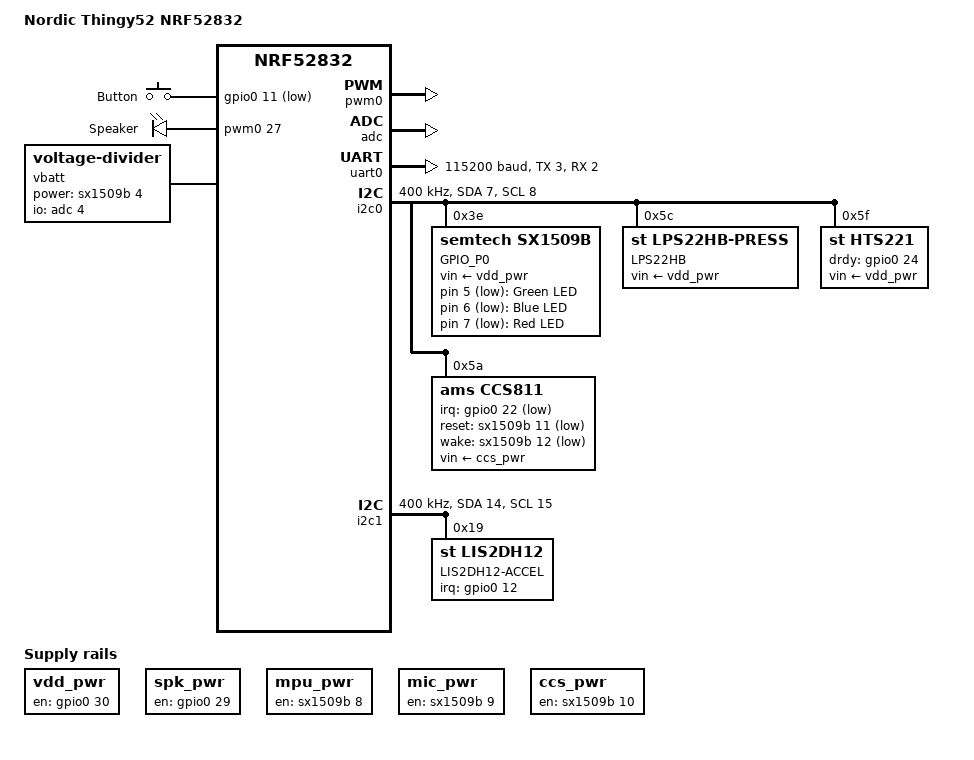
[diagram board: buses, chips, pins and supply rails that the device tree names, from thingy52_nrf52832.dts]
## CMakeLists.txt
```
#
# Copyright (c) 2020 Nordic Semiconductor ASA
#
# SPDX-License-Identifier: LicenseRef-Nordic-5-Clause
#
cmake_minimum_required(VERSION 3.13.1)

find_package(Zephyr REQUIRED HINTS $ENV{ZEPHYR_BASE})
project(NONE)

# NORDIC SDK APP START
target_sources(app PRIVATE
	src/main.c
	src/mesh_light_handler.c
	src/button_func.c
	src/speaker_func.c
	src/model_handler.c
	src/mesh_cmd_handler.c
	src/rssi_thread.c
	include/rssi_thread.h
	src/cmd_thread.c
	include/cmd_thread.h
	include/button_func.h
	include/mesh_cmd_handler.h
	include/mesh_light_handler.h
	include/model_handler.h
	include/speaker_func.h)
target_include_directories(app PRIVATE include)
# NORDIC SDK APP END
```

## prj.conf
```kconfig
## General configuration
CONFIG_SYSTEM_WORKQUEUE_STACK_SIZE=2048
CONFIG_FLASH=y
CONFIG_FLASH_MAP=y
CONFIG_FCB=y
CONFIG_SETTINGS=y
CONFIG_HWINFO=y
CONFIG_DK_LIBRARY=y
CONFIG_BT_MESH_DK_PROV=y

# Bluetooth configuration
CONFIG_BT=y
CONFIG_BT_DEBUG_LOG=y
CONFIG_BT_COMPANY_ID=0x0059
CONFIG_BT_DEVICE_NAME="Mesh Light"
CONFIG_BT_L2CAP_TX_MTU=69
CONFIG_BT_L2CAP_TX_BUF_COUNT=8
CONFIG_BT_OBSERVER=y
CONFIG_BT_PERIPHERAL=y
CONFIG_BT_SETTINGS=y
CONFIG_BT_TINYCRYPT_ECC=y

# Disable unused Bluetooth features
CONFIG_BT_CTLR_DUP_FILTER_LEN=0
CONFIG_BT_CTLR_LE_ENC=n
CONFIG_BT_DATA_LEN_UPDATE=n
CONFIG_BT_PHY_UPDATE=n
CONFIG_BT_CTLR_CHAN_SEL_2=n
CONFIG_BT_CTLR_MIN_USED_CHAN=n
CONFIG_BT_CTLR_PRIVACY=n

# Bluetooth mesh configuration
CONFIG_BT_MESH=y
CONFIG_BT_MESH_RELAY=n
CONFIG_BT_MESH_FRIEND=n
CONFIG_BT_MESH_ADV_BUF_COUNT=13
CONFIG_BT_MESH_TX_SEG_MAX=10
CONFIG_BT_MESH_PB_GATT=y
CONFIG_BT_MESH_GATT_PROXY=y
CONFIG_BT_MESH_DK_PROV_OOB_LOG=n
CONFIG_BT_MESH_DK_PROV_OOB_BUTTON=n
# Bluetooth mesh models
CONFIG_BT_MESH_ONOFF_SRV=y

# Config logger
CONFIG_LOG=y
CONFIG_LOG_PRINTK=y
CONFIG_LOG_DEFAULT_LEVEL=1
CONFIG_USE_SEGGER_RTT=y
CONFIG_LOG_BACKEND_RTT=y
CONFIG_LOG_BACKEND_UART=n
CONFIG_RTT_CONSOLE=y

CONFIG_PWM=y

CONFIG_HEAP_MEM_POOL_SIZE=2048

CONFIG_REBOOT=y
CONFIG_RESET_ON_FATAL_ERROR=y

#CONFIG_BT_DEBUG_LOG=y
```

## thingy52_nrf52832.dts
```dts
/*
 * Copyright (c) 2017 Shawn Nock <shawn@monadnock.ca>
 * Copyright (c) 2017 Linaro Limited
 * Copyright (c) 2018 Aapo Vienamo
 *
 * SPDX-License-Identifier: Apache-2.0
 */

/dts-v1/;
#include <nordic/nrf52832_qfaa.dtsi>

/ {
	model = "Nordic Thingy52 NRF52832";
	compatible = "nordic,thingy52-nrf52832";

	chosen {
		zephyr,console = &uart0;
		zephyr,shell-uart = &uart0;
		zephyr,bt-mon-uart = &uart0;
		zephyr,bt-c2h-uart = &uart0;
		zephyr,sram = &sram0;
		zephyr,flash = &flash0;
		zephyr,code-partition = &slot0_partition;
	};

	/* These aliases are provided for compatibility with samples */
	aliases {
		led0 = &led0;
		led1 = &led1;
		led2 = &led2;
		pwmspeaker = &pwm_dev0;
		sw0 = &button0;
	};

	leds {
		compatible = "gpio-leds";
		/* Lightwell RGB */
		led0: led_0 {
			gpios = <&sx1509b 5 GPIO_ACTIVE_LOW>;
			label = "Green LED";
			//vin-supply = <&vdd_pwr>;
		};
		led1: led_1 {
			gpios = <&sx1509b 6 GPIO_ACTIVE_LOW>;
			label = "Blue LED";
			//vin-supply = <&vdd_pwr>;
		};
		led2: led_2 {
			gpios = <&sx1509b 7 GPIO_ACTIVE_LOW>;
			label = "Red LED";
			//vin-supply = <&vdd_pwr>;
		};
	};

	buttons {
		compatible = "gpio-keys";
		button0: button_0 {
			/* gpio flags need validation */
			gpios = <&gpio0 11 (GPIO_PULL_UP | GPIO_ACTIVE_LOW)>;
			label = "Button";
		};
	};

	pwmdevs {
		compatible = "pwm-leds";
		pwm_dev0: pwm_dev_0  {
			pwms = <&pwm0 27>;
			label = "Speaker";
		};
	};

	vbatt {
		compatible = "voltage-divider";
		io-channels = <&adc 4>;
		output-ohms = <180000>;
		full-ohms = <(1500000 + 180000)>;
		power-gpios = <&sx1509b 4 0>;
	};

	vdd_pwr: vdd-pwr-ctrl {
		compatible = "regulator-fixed-sync", "regulator-fixed";
		label = "vdd-pwr-ctrl";
		regulator-name = "vdd-pwr-ctrl";
		enable-gpios = <&gpio0 30 GPIO_ACTIVE_HIGH>;
		regulator-boot-on;
	};

	spk_pwr: spk-pwr-ctrl {
		compatible = "regulator-fixed-sync", "regulator-fixed";
		label = "spk-pwr-ctrl";
		regulator-name = "spk-pwr-ctrl";
		enable-gpios = <&gpio0 29 GPIO_ACTIVE_HIGH>;
		regulator-boot-on;
	};

	mpu_pwr: mpu-pwr-ctrl {
		compatible = "regulator-fixed";
		label = "mpu-pwr-ctrl";
		regulator-name = "mpu-pwr-ctrl";
		enable-gpios = <&sx1509b 8 GPIO_ACTIVE_HIGH>;
	};

	mic_pwr: mic-pwr-ctrl {
		compatible = "regulator-fixed";
		label = "mic-pwr-ctrl";
		regulator-name = "mic-pwr-ctrl";
		enable-gpios = <&sx1509b 9 GPIO_ACTIVE_HIGH>;
	};

	ccs_pwr: ccs-pwr-ctrl {
		compatible = "regulator-fixed";
		label = "ccs-pwr-ctrl";
		regulator-name = "ccs-pwr-ctrl";
		enable-gpios = <&sx1509b 10 GPIO_ACTIVE_HIGH>;
	};
};

&pwm0 {
	status = "okay";
	ch0-pin = <27>;
	ch0-inverted;
};

&adc {
	status = "okay";
};

&gpiote {
	status = "okay";
};

&gpio0 {
	status = "okay";
};

&uart0 {
	compatible = "nordic,nrf-uarte";
	status = "okay";
	current-speed = <115200>;
	tx-pin = <3>;
	rx-pin = <2>;
};

&i2c0 {
	compatible = "nordic,nrf-twim";
	status = "okay";
	clock-frequency = <I2C_BITRATE_FAST>;
	sda-pin = <7>;
	scl-pin = <8>;

	sx1509b: sx1509b@3e {
		compatible = "semtech,sx1509b";
		reg = <0x3e>;
		label = "GPIO_P0";
		vin-supply = <&vdd_pwr>;
		gpio-controller;
		#gpio-cells = <2>;
		ngpios = <16>;
		/* Active-low LEDs init high, all else init low */
		init-out-high = <0xe0e0>;
		init-out-low = <0x1f1f>;
	};

	lps22hb_press: lps22hb_press@5c {
		compatible = "st,lps22hb-press";
		reg = <0x5c>;
		label = "LPS22HB";
		vin-supply = <&vdd_pwr>;
	};

	hts221: hts221@5f {
		compatible = "st,hts221";
		reg = <0x5f>;
		label = "HTS221";
		vin-supply = <&vdd_pwr>;
		drdy-gpios = <&gpio0 24 GPIO_ACTIVE_HIGH>;
	};

	ccs811: ccs811@5a {
		compatible = "ams,ccs811";
		reg = <0x5a>;
		label = "CCS811";
		vin-supply = <&ccs_pwr>;
		irq-gpios = <&gpio0 22 GPIO_ACTIVE_LOW>;
		reset-gpios = <&sx1509b 11 GPIO_ACTIVE_LOW>;
		wake-gpios = <&sx1509b 12 GPIO_ACTIVE_LOW>;
	};
};

&i2c1 {
	compatible = "nordic,nrf-twim";
	status = "okay";
	clock-frequency = <I2C_BITRATE_FAST>;
	sda-pin = <14>;
	scl-pin = <15>;

	lis2dh12: lis2dh12@19 {
		compatible = "st,lis2dh12", "st,lis2dh";
		reg = <0x19>;
		irq-gpios = <&gpio0 12 GPIO_ACTIVE_HIGH>;
		label = "LIS2DH12-ACCEL";
	};
};

&flash0 {
	partitions {
		compatible = "fixed-partitions";
		#address-cells = <1>;
		#size-cells = <1>;

		boot_partition: partition@0 {
			label = "mcuboot";
			reg = <0x00000000 0xc000>;
		};
		slot0_partition: partition@c000 {
			label = "image-0";
			reg = <0x0000C000 0x32000>;
		};
		slot1_partition: partition@3e000 {
			label = "image-1";
			reg = <0x0003E000 0x32000>;
		};
		scratch_partition: partition@70000 {
			label = "image-scratch";
			reg = <0x00070000 0xa000>;
		};

		/*
		 * The flash starting at 0x0007a000 and ending at
		 * 0x0007ffff (sectors 122-127) is reserved for use
		 * by the application.
		 * Storage partition will be used by FCB/LittleFS/NVS
		 * if enabled.
		 */
		storage_partition: partition@7a000 {
			label = "storage";
			reg = <0x0007a000 0x00006000>;
		};
	};
};
```

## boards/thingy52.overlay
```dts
/{
	model = "Nordic Thingy52 NRF52832";
	compatible = "nordic,thingy52-nrf52832";

	chosen {
		zephyr,console = &uart0;
		zephyr,shell-uart = &uart0;
		zephyr,bt-mon-uart = &uart0;
		zephyr,bt-c2h-uart = &uart0;
		zephyr,sram = &sram0;
		zephyr,flash = &flash0;
		zephyr,code-partition = &slot0_partition;
	};

	/* These aliases are provided for compatibility with samples */
	aliases {
		led0 = &led0;
		led1 = &led1;
		led2 = &led2;
		pwmspeaker = &pwm_dev0;
		sw0 = &button0;
	};

	leds {
		compatible = "gpio-leds";
		/* Lightwell RGB */
		led0: led_0 {
			gpios = <&sx1509b 7 GPIO_ACTIVE_LOW>;
			label = "Red LED";
			//vin-supply = <&vdd_pwr>;
		};
		led1: led_1 {
			gpios = <&sx1509b 5 GPIO_ACTIVE_LOW>;
			label = "Green LED";
			//vin-supply = <&vdd_pwr>;
		};
		led2: led_2 {
			gpios = <&sx1509b 6 GPIO_ACTIVE_LOW>;
			label = "Blue LED";
			//vin-supply = <&vdd_pwr>;
		};
	};

	buttons {
		compatible = "gpio-keys";
		button0: button_0 {
			/* gpio flags need validation */
			gpios = <&gpio0 11 (GPIO_PULL_UP | GPIO_ACTIVE_LOW)>;
			label = "Button";
		};
	};

	pwmdevs {
		compatible = "pwm-leds";
		pwm_dev0: pwm_dev_0  {
			pwms = <&pwm0 27>;
			label = "Speaker";
		};
	};

	vbatt {
		compatible = "voltage-divider";
		io-channels = <&adc 4>;
		output-ohms = <180000>;
		full-ohms = <(1500000 + 180000)>;
		power-gpios = <&sx1509b 4 0>;
	};

	vdd_pwr: vdd-pwr-ctrl {
		compatible = "regulator-fixed-sync", "regulator-fixed";
		label = "vdd-pwr-ctrl";
		regulator-name = "vdd-pwr-ctrl";
		enable-gpios = <&gpio0 30 GPIO_ACTIVE_HIGH>;
		regulator-boot-on;
	};

	spk_pwr: spk-pwr-ctrl {
		compatible = "regulator-fixed-sync", "regulator-fixed";
		label = "spk-pwr-ctrl";
		regulator-name = "spk-pwr-ctrl";
		enable-gpios = <&gpio0 29 GPIO_ACTIVE_HIGH>;
		regulator-boot-on;
	};

	mpu_pwr: mpu-pwr-ctrl {
		compatible = "regulator-fixed";
		label = "mpu-pwr-ctrl";
		regulator-name = "mpu-pwr-ctrl";
		enable-gpios = <&sx1509b 8 GPIO_ACTIVE_HIGH>;
	};

	mic_pwr: mic-pwr-ctrl {
		compatible = "regulator-fixed";
		label = "mic-pwr-ctrl";
		regulator-name = "mic-pwr-ctrl";
		enable-gpios = <&sx1509b 9 GPIO_ACTIVE_HIGH>;
	};

	ccs_pwr: ccs-pwr-ctrl {
		compatible = "regulator-fixed";
		label = "ccs-pwr-ctrl";
		regulator-name = "ccs-pwr-ctrl";
		enable-gpios = <&sx1509b 10 GPIO_ACTIVE_HIGH>;
	};
};

&pwm0 {
	status = "okay";
	ch0-pin = <27>;
	ch0-inverted;
};

&adc {
	status = "okay";
};

&gpiote {
	status = "okay";
};

&gpio0 {
	status = "okay";
};

&uart0 {
	compatible = "nordic,nrf-uarte";
	status = "okay";
	current-speed = <115200>;
	tx-pin = <3>;
	rx-pin = <2>;
};

&i2c0 {
	compatible = "nordic,nrf-twim";
	status = "okay";
	clock-frequency = <I2C_BITRATE_FAST>;
	sda-pin = <7>;
	scl-pin = <8>;

	sx1509b: sx1509b@3e {
		compatible = "semtech,sx1509b";
		reg = <0x3e>;
		label = "GPIO_P0";
		vin-supply = <&vdd_pwr>;
		gpio-controller;
		#gpio-cells = <2>;
		ngpios = <16>;
		/* Active-low LEDs init high, all else init low */
		init-out-high = <0xe0e0>;
		init-out-low = <0x1f1f>;
	};

	lps22hb_press: lps22hb_press@5c {
		compatible = "st,lps22hb-press";
		reg = <0x5c>;
		label = "LPS22HB";
		vin-supply = <&vdd_pwr>;
	};

	hts221: hts221@5f {
		compatible = "st,hts221";
		reg = <0x5f>;
		label = "HTS221";
		vin-supply = <&vdd_pwr>;
		drdy-gpios = <&gpio0 24 GPIO_ACTIVE_HIGH>;
	};

	ccs811: ccs811@5a {
		compatible = "ams,ccs811";
		reg = <0x5a>;
		label = "CCS811";
		vin-supply = <&ccs_pwr>;
		irq-gpios = <&gpio0 22 GPIO_ACTIVE_LOW>;
		reset-gpios = <&sx1509b 11 GPIO_ACTIVE_LOW>;
		wake-gpios = <&sx1509b 12 GPIO_ACTIVE_LOW>;
	};
};

&i2c1 {
	compatible = "nordic,nrf-twim";
	status = "okay";
	clock-frequency = <I2C_BITRATE_FAST>;
	sda-pin = <14>;
	scl-pin = <15>;

	lis2dh12: lis2dh12@19 {
		compatible = "st,lis2dh12", "st,lis2dh";
		reg = <0x19>;
		irq-gpios = <&gpio0 12 GPIO_ACTIVE_HIGH>;
		label = "LIS2DH12-ACCEL";
	};
};

&flash0 {
	partitions {
		compatible = "fixed-partitions";
		#address-cells = <1>;
		#size-cells = <1>;

		boot_partition: partition@0 {
			label = "mcuboot";
			reg = <0x00000000 0xc000>;
		};
		slot0_partition: partition@c000 {
			label = "image-0";
			reg = <0x0000C000 0x32000>;
		};
		slot1_partition: partition@3e000 {
			label = "image-1";
			reg = <0x0003E000 0x32000>;
		};
		scratch_partition: partition@70000 {
			label = "image-scratch";
			reg = <0x00070000 0xa000>;
		};

		/*
		 * The flash starting at 0x0007a000 and ending at
		 * 0x0007ffff (sectors 122-127) is reserved for use
		 * by the application.
		 * Storage partition will be used by FCB/LittleFS/NVS
		 * if enabled.
		 */
		storage_partition: partition@7a000 {
			label = "storage";
			reg = <0x0007a000 0x00006000>;
		};
	};
};
```

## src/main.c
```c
#include <bluetooth/bluetooth.h>
#include <bluetooth/mesh/models.h>
#include <bluetooth/mesh/dk_prov.h>
#include <dk_buttons_and_leds.h>

#include "model_handler.h"
#include "button_func.h"
#include "speaker_func.h"

static void bt_ready(int err)
{
	if (err) {
		printk("Bluetooth init failed (err %d)\n", err);
		return;
	}

	printk("Bluetooth initialized\n");

	err = bt_mesh_init(bt_mesh_dk_prov_init(), model_handler_init());
	if (err) {
		printk("Initializing mesh failed (err %d)\n", err);
		return;
	}

	if (IS_ENABLED(CONFIG_SETTINGS)) {
		settings_load();
	}

	/* This will be a no-op if settings_load() loaded provisioning info */
	bt_mesh_prov_enable(BT_MESH_PROV_ADV | BT_MESH_PROV_GATT);

	printk("Mesh initialized\n");
}

void main(void)
{
	int err;
	
	button_init();
	speaker_init();
	dk_leds_init();

	printk("Initializing...\n");

	err = bt_enable(bt_ready);
	if (err) {
		printk("Bluetooth init failed (err %d)\n", err);
	}
}
```

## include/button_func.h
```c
#ifndef __BUTTON_FUNC_H__	
#define __BUTTON_FUNC_H__		
#include <zephyr.h>
#include <device.h>
#include <drivers/gpio.h>
#include <sys/util.h>
#include <sys/printk.h>
#include <inttypes.h>

#define SW0_NODE	DT_ALIAS(sw0)
#define SW0_GPIO_LABEL	DT_GPIO_LABEL(SW0_NODE, gpios)
#define SW0_GPIO_PIN	DT_GPIO_PIN(SW0_NODE, gpios)
#define SW0_GPIO_FLAGS	(GPIO_INPUT | DT_GPIO_FLAGS(SW0_NODE, gpios))
void button_init(void);
#endif // !__BUTTON_FUNC_H__	
```

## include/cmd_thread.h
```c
#ifndef __CMD_THREAD__
#define __CMD_THREAD__
#include <zephyr.h>

#define CMD_STACK_SIZE 1024
#define CMD_PRIORITY 5
extern struct k_work_q cmd_work_q;
void init_cmd_thread();
#endif
```

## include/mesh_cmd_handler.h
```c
#ifndef __MESH_CMD_HANDLER_H__
#define __MESH_CMD_HANDLER_H__
#include <bluetooth/mesh.h>
#include <bluetooth/mesh/model_types.h>
#include "mesh/net.h"
#include "mesh/transport.h"
#include <string.h>
#include "model_handler.h"
extern struct bt_mesh_chat_cli chat;

#define CONFIG_BT_MESH_CHAT_CLI_MESSAGE_LENGTH 15
#define CONFIG_BT_MESH_CHAT_SAMPLE_PRESENCE_CACHE_SIZE 10

/** Company ID of the Bluetooth Mesh Chat Client model. */
#define BT_MESH_CHAT_CLI_VENDOR_COMPANY_ID    0x0059

/** Model ID of the Bluetooth Mesh Chat Client model. */
#define BT_MESH_CHAT_CLI_VENDOR_MODEL_ID      0x000A

/** Non-private message opcode. */
#define BT_MESH_CHAT_CLI_OP_MESSAGE BT_MESH_MODEL_OP_3(0x0A, \
				       BT_MESH_CHAT_CLI_VENDOR_COMPANY_ID)

/** Private message opcode. */
#define BT_MESH_CHAT_CLI_OP_PRIVATE_MESSAGE BT_MESH_MODEL_OP_3(0x0B, \
				       BT_MESH_CHAT_CLI_VENDOR_COMPANY_ID)

/** Message reply opcode. */
#define BT_MESH_CHAT_CLI_OP_MESSAGE_REPLY BT_MESH_MODEL_OP_3(0x0C, \
				       BT_MESH_CHAT_CLI_VENDOR_COMPANY_ID)

/** Presence message opcode. */
#define BT_MESH_CHAT_CLI_OP_PRESENCE BT_MESH_MODEL_OP_3(0x0D, \
				       BT_MESH_CHAT_CLI_VENDOR_COMPANY_ID)

/** Presence get message opcode. */
#define BT_MESH_CHAT_CLI_OP_PRESENCE_GET BT_MESH_MODEL_OP_3(0x0E, \
				       BT_MESH_CHAT_CLI_VENDOR_COMPANY_ID)
/* .. include_endpoint_chat_cli_rst_1 */

#define BT_MESH_CHAT_CLI_MSG_MINLEN_MESSAGE 1
#define BT_MESH_CHAT_CLI_MSG_MAXLEN_MESSAGE (\
				     CONFIG_BT_MESH_CHAT_CLI_MESSAGE_LENGTH \
				     + 1) /* + \0 */
#define BT_MESH_CHAT_CLI_MSG_LEN_MESSAGE_REPLY 0
#define BT_MESH_CHAT_CLI_MSG_LEN_PRESENCE 1
#define BT_MESH_CHAT_CLI_MSG_LEN_PRESENCE_GET 0
/** Bluetooth Mesh Chat Client Presence values. */
enum bt_mesh_chat_cli_presence {
	BT_MESH_CHAT_CLI_PRESENCE_AVAILABLE,
	BT_MESH_CHAT_CLI_PRESENCE_AWAY,
	BT_MESH_CHAT_CLI_PRESENCE_INACTIVE,
	BT_MESH_CHAT_CLI_PRESENCE_DO_NOT_DISTURB
};

/* Forward declaration of the Bluetooth Mesh Chat Client model context. */
struct bt_mesh_chat_cli;

/* .. include_startingpoint_chat_cli_rst_2 */
/** @def BT_MESH_MODEL_CHAT_CLI
 *
 * @brief Bluetooth Mesh Chat Client model composition data entry.
 *
 * @param[in] _chat Pointer to a @ref bt_mesh_chat_cli instance.
 */
#define BT_MESH_MODEL_CHAT_CLI(_chat)                                          \
		BT_MESH_MODEL_VND_CB(BT_MESH_CHAT_CLI_VENDOR_COMPANY_ID,       \
			BT_MESH_CHAT_CLI_VENDOR_MODEL_ID,                      \
			_bt_mesh_chat_cli_op, &(_chat)->pub,                   \
			BT_MESH_MODEL_USER_DATA(struct bt_mesh_chat_cli,       \
						_chat),                        \
			&_bt_mesh_chat_cli_cb)
/* .. include_endpoint_chat_cli_rst_2 */

/** Bluetooth Mesh Chat Client model handlers. */
struct bt_mesh_chat_cli_handlers {
	/** @brief Called after the node has been provisioned, or after all
	 * mesh data has been loaded from persistent storage.
	 *
	 * @param[in] cli Chat Client instance that has been started.
	 */
	void (*const start)(struct bt_mesh_chat_cli *chat);

	/** @brief Handler for a presence message.
	 *
	 * @param[in] cli Chat client instance that received the text message.
	 * @param[in] ctx Context of the incoming message.
	 * @param[in] presence Presence of a Chat Client that published
	 * the message.
	 */
	void (*const presence)(struct bt_mesh_chat_cli *chat,
			       struct bt_mesh_msg_ctx *ctx,
			       enum bt_mesh_chat_cli_presence presence);

	/** @brief Handler for a non-private text message.
	 *
	 * @param[in] cli Chat client instance that received the text message.
	 * @param[in] ctx Context of the incoming message.
	 * @param[in] msg Pointer to a received text message terminated with
	 * a null character, '\0'.
	 */
	void (*const message)(struct bt_mesh_chat_cli *chat,
			      struct bt_mesh_msg_ctx *ctx,
			      const uint8_t *msg);

	/** @brief Handler for a private message.
	 *
	 * @param[in] cli Chat client that received the text message.
	 * @param[in] ctx Context of the incoming message.
	 * @param[in] msg Pointer to a received text message terminated with
	 * a null character, '\0'.
	 */
	void (*const private_message)(struct bt_mesh_chat_cli *chat,
				      struct bt_mesh_msg_ctx *ctx,
				      const uint8_t *msg);

	/** @brief Handler for a reply on a private message.
	 *
	 * @param[in] cli Chat client instance that received the reply.
	 * @param[in] ctx Context of the incoming message.
	 */
	void (*const message_reply)(struct bt_mesh_chat_cli *chat,
				    struct bt_mesh_msg_ctx *ctx);
};

/* .. include_startingpoint_chat_cli_rst_3 */
/**
 * Bluetooth Mesh Chat Client model context.
 */
struct bt_mesh_chat_cli {
	/** Access model pointer. */
	struct bt_mesh_model *model;
	/** Publish parameters. */
	struct bt_mesh_model_pub pub;
	/** Publication message. */
	struct net_buf_simple pub_msg;
	/** Publication message buffer. */
	uint8_t buf[BT_MESH_MODEL_BUF_LEN(BT_MESH_CHAT_CLI_OP_MESSAGE,
					  BT_MESH_CHAT_CLI_MSG_MAXLEN_MESSAGE)];
	/** Handler function structure. */
	const struct bt_mesh_chat_cli_handlers *handlers;
	/** Current Presence value. */
	enum bt_mesh_chat_cli_presence presence;
};
/* .. include_endpoint_chat_cli_rst_3 */

/** @brief Set the client presence and publish the presence to the mesh network.
 *
 * @param[in] chat     Chat Client model instance to set presence on.
 * @param[in] presence Presence status to be published.
 *
 * @retval 0 Successfully set the preceive and sent the message.
 * @retval -EADDRNOTAVAIL Publishing is not configured.
 * @retval -EAGAIN The device has not been provisioned.
 */
int bt_mesh_chat_cli_presence_set(struct bt_mesh_chat_cli *chat,
				  enum bt_mesh_chat_cli_presence presence);

/** @brief Get current presence value of a chat client.
 *
 * @param[in] chat Chat Client model instance to send the message.
 * @param[in] addr Address of the chat client to get presence value of.
 *
 * @retval 0 Successfully sent the message.
 * @retval -EINVAL The model is not bound to an application key.
 * @retval -EAGAIN The device has not been provisioned.
 */
int bt_mesh_chat_cli_presence_get(struct bt_mesh_chat_cli *chat,
				  uint16_t addr);

/** @brief Send a text message.
 *
 * @param[in] cli Chat Client model instance to send the message.
 * @param[in] msg Pointer to a text message to send. Must be terminated with
 * a null character, '\0'.
 *
 * @retval 0 Successfully sent the message.
 * @retval -EADDRNOTAVAIL Publishing is not configured.
 * @retval -EAGAIN The device has not been provisioned.
 */
int bt_mesh_chat_cli_message_send(struct bt_mesh_chat_cli *chat,
				  const uint8_t *msg);

/** @brief Send a text message to a specified destination.
 *
 * @param[in] cli  Chat Client model instance to send the message.
 * @param[in] addr Address of the chat client to send message to.
 * @param[in] msg  Pointer to a text message to send. Must be terminated with
 * a null character, '\0'.
 *
 * @retval 0 Successfully sent the message.
 * @retval -EINVAL The model is not bound to an application key.
 * @retval -EAGAIN The device has not been provisioned.
 */
int bt_mesh_chat_cli_private_message_send(struct bt_mesh_chat_cli *chat,
					  uint16_t addr,
					  const uint8_t *msg);

/** @cond INTERNAL_HIDDEN */
extern const struct bt_mesh_model_op _bt_mesh_chat_cli_op[];
extern const struct bt_mesh_model_cb _bt_mesh_chat_cli_cb;
#endif
```

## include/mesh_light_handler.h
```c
#ifndef __MESH_LIGHT_HANDLER_H__
#define __MESH_LIGHT_HANDLER_H__
#include <bluetooth/bluetooth.h>
#include <bluetooth/mesh/models.h>
#include <dk_buttons_and_leds.h>
#include "model_handler.h"
struct led_ctx {
	struct bt_mesh_onoff_srv srv;
	struct k_work_delayable work;
	uint32_t remaining;
	bool value;
};

extern const struct bt_mesh_onoff_srv_handlers onoff_handlers;

extern struct led_ctx led_ctx[3];
void led_transition_start(struct led_ctx *led);
void led_status(struct led_ctx *led, struct bt_mesh_onoff_status *status);
#endif
```

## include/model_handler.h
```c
/*
 * Copyright (c) 2019 Nordic Semiconductor ASA
 *
 * SPDX-License-Identifier: LicenseRef-Nordic-5-Clause
 */

/**
 * @file
 * @brief Model handler
 */

#ifndef MODEL_HANDLER_H__
#define MODEL_HANDLER_H__

#include <bluetooth/mesh.h>

#ifdef __cplusplus
extern "C" {
#endif

const struct bt_mesh_comp *model_handler_init(void);
#ifdef __cplusplus
}
#endif

#endif /* MODEL_HANDLER_H__ */
```

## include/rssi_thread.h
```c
#ifndef __RSSI_THREAD__
#define __RSSI_THREAD__
#include <zephyr.h>

#define RSSI_STACK_SIZE 1024
#define RSSI_PRIORITY 8

typedef struct RSSI_INFO
{
	struct k_work work;
	uint16_t address;
	int8_t rssi;
}RSSI;

typedef struct rssi_buffer
{
	uint16_t address;
	int8_t rssi;

}rssi_buffer;

extern rssi_buffer nearest_three[3];
extern struct k_work_q rssi_work_q;
void init_rssi_thread();
void process_rssi(struct k_work *item);
void init_buffer();
int getRecords();
#endif
```

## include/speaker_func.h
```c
#ifndef __SPEAKER_FUNC_H__
#define __SPEAKER_FUNC_H__

#include <device.h>
#include <errno.h>
#include <sys/util.h>
#include <zephyr.h>
#include <devicetree.h>
#include <drivers/pwm.h>
#include "nrfx_gpiote.h"

#define PWM_SPKR_NODE	DT_ALIAS(pwmspeaker)
#define PWM_CTLR	DT_PWMS_CTLR(PWM_SPKR_NODE)
#define PWM_CHANNEL DT_PWMS_CHANNEL(PWM_SPKR_NODE)

#define SPKR_PWR_SWITCH 29

void speaker_init(void);
void speaker_always_on(int freq, int volume);
void speaker_limit_on(int freq, int volume, int duration);
void speaker_off(void);
void speaker_always_on_alarm(int freq, int volume, int on_time, int idle_time);
void speaker_limit_on_alarm(int freq, int volume, int on_time, int idle_time, int duration);
#endif // !__SPEAKER_FUNC_H__
 
```

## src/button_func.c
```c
#include "button_func.h"
#include "power/reboot.h"

static const struct device *button;
static struct gpio_callback button_cb_data;

void button_pressed(const struct device *dev,
	struct gpio_callback *cb,
	uint32_t pins)
{
	printk("Button pressed at %" PRIu32 "\n", k_cycle_get_32());
	sys_reboot(SYS_REBOOT_COLD);
}

void button_init(void)
{
	int ret;

	button = device_get_binding(SW0_GPIO_LABEL);
	if (button == NULL) {
		printk("Error: didn't find %s device\n", SW0_GPIO_LABEL);
		return;
	}

	ret = gpio_pin_configure(button, SW0_GPIO_PIN, SW0_GPIO_FLAGS);
	if (ret != 0) {
		printk("Error %d: failed to configure %s pin %d\n",
			ret,
			SW0_GPIO_LABEL,
			SW0_GPIO_PIN);
		return;
	}

	ret = gpio_pin_interrupt_configure(button,
		SW0_GPIO_PIN,
		GPIO_INT_EDGE_TO_ACTIVE);
	if (ret != 0) {
		printk("Error %d: failed to configure interrupt on %s pin %d\n",
			ret,
			SW0_GPIO_LABEL,
			SW0_GPIO_PIN);
		return;
	}

	gpio_init_callback(&button_cb_data, button_pressed, BIT(SW0_GPIO_PIN));
	gpio_add_callback(button, &button_cb_data);

}
```

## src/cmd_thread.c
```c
#include "cmd_thread.h"

K_THREAD_STACK_DEFINE(cmd_stack_area, CMD_STACK_SIZE);
struct k_work_q cmd_work_q;

void init_cmd_thread()
{
	k_work_queue_start(&cmd_work_q, cmd_stack_area, K_THREAD_STACK_SIZEOF(cmd_stack_area), CMD_PRIORITY, NULL);
}
```

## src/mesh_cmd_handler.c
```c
#include "mesh_cmd_handler.h"
#include <logging/log.h>
#include "rssi_thread.h"
#include "cmd_thread.h"

LOG_MODULE_DECLARE(command);

BUILD_ASSERT(BT_MESH_MODEL_BUF_LEN(BT_MESH_CHAT_CLI_OP_MESSAGE,
		BT_MESH_CHAT_CLI_MSG_MAXLEN_MESSAGE) <=
 BT_MESH_RX_SDU_MAX,
	"The message must fit inside an application SDU.");
BUILD_ASSERT(BT_MESH_MODEL_BUF_LEN(BT_MESH_CHAT_CLI_OP_MESSAGE,
		BT_MESH_CHAT_CLI_MSG_MAXLEN_MESSAGE) <=
 BT_MESH_TX_SDU_MAX,
	"The message must fit inside an application SDU.");

static void encode_presence(struct net_buf_simple *buf,
	enum bt_mesh_chat_cli_presence presence)
{
	bt_mesh_model_msg_init(buf, BT_MESH_CHAT_CLI_OP_PRESENCE);
	net_buf_simple_add_u8(buf, presence);
}

static const uint8_t *extract_msg(struct net_buf_simple *buf)
{
	buf->data[buf->len - 1] = '\0';
	return net_buf_simple_pull_mem(buf, buf->len);
}

static int handle_message(struct bt_mesh_model *model,
	struct bt_mesh_msg_ctx *ctx,
	struct net_buf_simple *buf)
{
	struct bt_mesh_chat_cli *chat = model->user_data;
	const uint8_t *msg;

	msg = extract_msg(buf);

	if (chat->handlers->message) {
		chat->handlers->message(chat, ctx, msg);
	}

	return 0;
}

/* .. include_startingpoint_chat_cli_rst_1 */
//static void send_message_reply(struct bt_mesh_chat_cli *chat,
//	struct bt_mesh_msg_ctx *ctx)
//{
//	BT_MESH_MODEL_BUF_DEFINE(msg,
//		BT_MESH_CHAT_CLI_OP_MESSAGE_REPLY,
//		BT_MESH_CHAT_CLI_MSG_LEN_MESSAGE_REPLY);
//	bt_mesh_model_msg_init(&msg, BT_MESH_CHAT_CLI_OP_MESSAGE_REPLY);
//
//	(void)bt_mesh_model_send(chat->model, ctx, &msg, NULL, NULL);
//}

static int handle_private_message(struct bt_mesh_model *model,
	struct bt_mesh_msg_ctx *ctx,
	struct net_buf_simple *buf)
{
	struct bt_mesh_chat_cli *chat = model->user_data;
	const uint8_t *msg;

	msg = extract_msg(buf);

	if (chat->handlers->private_message) {
		chat->handlers->private_message(chat, ctx, msg);
	}

	//send_message_reply(chat, ctx);
	return 0;
}
/* .. include_endpoint_chat_cli_rst_1 */

static int handle_message_reply(struct bt_mesh_model *model,
	struct bt_mesh_msg_ctx *ctx,
	struct net_buf_simple *buf)
{
	struct bt_mesh_chat_cli *chat = model->user_data;

	if (chat->handlers->message_reply) {
		chat->handlers->message_reply(chat, ctx);
	}

	return 0;
}

static int handle_presence(struct bt_mesh_model *model,
	struct bt_mesh_msg_ctx *ctx,
	struct net_buf_simple *buf)
{
	struct bt_mesh_chat_cli *chat = model->user_data;
	enum bt_mesh_chat_cli_presence presence;

	presence = net_buf_simple_pull_u8(buf);

	if (chat->handlers->presence) {
		chat->handlers->presence(chat, ctx, presence);
	}

	return 0;
}

static int handle_presence_get(struct bt_mesh_model *model,
	struct bt_mesh_msg_ctx *ctx,
	struct net_buf_simple *buf)
{
	struct bt_mesh_chat_cli *chat = model->user_data;

	BT_MESH_MODEL_BUF_DEFINE(msg,
		BT_MESH_CHAT_CLI_OP_PRESENCE,
		BT_MESH_CHAT_CLI_MSG_LEN_PRESENCE);

	encode_presence(&msg, chat->presence);

	(void) bt_mesh_model_send(chat->model, ctx, &msg, NULL, NULL);

	return 0;
}

/* .. include_startingpoint_chat_cli_rst_2 */
const struct bt_mesh_model_op _bt_mesh_chat_cli_op[] = {
{
	BT_MESH_CHAT_CLI_OP_MESSAGE,
	BT_MESH_LEN_MIN(BT_MESH_CHAT_CLI_MSG_MINLEN_MESSAGE),
	handle_message
},
{
	BT_MESH_CHAT_CLI_OP_PRIVATE_MESSAGE,
	BT_MESH_LEN_MIN(BT_MESH_CHAT_CLI_MSG_MINLEN_MESSAGE),
	handle_private_message
},
{
	BT_MESH_CHAT_CLI_OP_MESSAGE_REPLY,
	BT_MESH_LEN_EXACT(BT_MESH_CHAT_CLI_MSG_LEN_MESSAGE_REPLY),
	handle_message_reply
},
{
	BT_MESH_CHAT_CLI_OP_PRESENCE,
	BT_MESH_LEN_EXACT(BT_MESH_CHAT_CLI_MSG_LEN_PRESENCE),
	handle_presence
},
{
	BT_MESH_CHAT_CLI_OP_PRESENCE_GET,
	BT_MESH_LEN_EXACT(BT_MESH_CHAT_CLI_MSG_LEN_PRESENCE_GET),
	handle_presence_get
},
	BT_MESH_MODEL_OP_END,
};
/* .. include_endpoint_chat_cli_rst_2 */

static int bt_mesh_chat_cli_update_handler(struct bt_mesh_model *model)
{
	struct bt_mesh_chat_cli *chat = model->user_data;

	/* Continue publishing current presence. */
	encode_presence(model->pub->msg, chat->presence);

	return 0;
}

/* .. include_startingpoint_chat_cli_rst_3 */
#ifdef CONFIG_BT_SETTINGS
static int bt_mesh_chat_cli_settings_set(struct bt_mesh_model *model,
	const char *name,
	size_t len_rd,
	settings_read_cb read_cb,
	void *cb_arg)
{
	struct bt_mesh_chat_cli *chat = model->user_data;

	if (name) {
		return -ENOENT;
	}

	ssize_t bytes = read_cb(cb_arg,
		&chat->presence,
		sizeof(chat->presence));
	if (bytes < 0) {
		return bytes;
	}

	if (bytes != 0 && bytes != sizeof(chat->presence)) {
		return -EINVAL;
	}

	return 0;
}
#endif
/* .. include_endpoint_chat_cli_rst_3 */

/* .. include_startingpoint_chat_cli_rst_4 */
static int bt_mesh_chat_cli_init(struct bt_mesh_model *model)
{
	struct bt_mesh_chat_cli *chat = model->user_data;

	chat->model = model;

	net_buf_simple_init_with_data(&chat->pub_msg,
		chat->buf,
		sizeof(chat->buf));
	chat->pub.msg = &chat->pub_msg;
	chat->pub.update = bt_mesh_chat_cli_update_handler;

	return 0;
}
/* .. include_endpoint_chat_cli_rst_4 */

/* .. include_startingpoint_chat_cli_rst_5 */
static int bt_mesh_chat_cli_start(struct bt_mesh_model *model)
{
	struct bt_mesh_chat_cli *chat = model->user_data;

	if (chat->handlers->start) {
		chat->handlers->start(chat);
	}

	return 0;
}
/* .. include_endpoint_chat_cli_rst_5 */

/* .. include_startingpoint_chat_cli_rst_6 */
static void bt_mesh_chat_cli_reset(struct bt_mesh_model *model)
{
	struct bt_mesh_chat_cli *chat = model->user_data;

	chat->presence = BT_MESH_CHAT_CLI_PRESENCE_AVAILABLE;

	if (IS_ENABLED(CONFIG_BT_SETTINGS)) {
		(void) bt_mesh_model_data_store(model, true, NULL, NULL, 0);
	}
}
/* .. include_endpoint_chat_cli_rst_6 */

/* .. include_startingpoint_chat_cli_rst_7 */
const struct bt_mesh_model_cb _bt_mesh_chat_cli_cb = {
	.init = bt_mesh_chat_cli_init,
	.start = bt_mesh_chat_cli_start,
#ifdef CONFIG_BT_SETTINGS
	.settings_set = bt_mesh_chat_cli_settings_set,
#endif
	.reset = bt_mesh_chat_cli_reset,
};
/* .. include_endpoint_chat_cli_rst_7 */

/* .. include_startingpoint_chat_cli_rst_8 */
int bt_mesh_chat_cli_presence_set(struct bt_mesh_chat_cli *chat,
	enum bt_mesh_chat_cli_presence presence)
{
	if (presence != chat->presence) {
		chat->presence = presence;

		if (IS_ENABLED(CONFIG_BT_SETTINGS)) {
			(void) bt_mesh_model_data_store(chat->model,
				true,
				NULL,
				&presence,
				sizeof(chat->presence));
		}
	}

	encode_presence(chat->model->pub->msg, chat->presence);

	return bt_mesh_model_publish(chat->model);
}
/* .. include_endpoint_chat_cli_rst_8 */

int bt_mesh_chat_cli_presence_get(struct bt_mesh_chat_cli *chat,
	uint16_t addr)
{
	struct bt_mesh_msg_ctx ctx = {
		.addr = addr,
		.app_idx = chat->model->keys[0],
		.send_ttl = BT_MESH_TTL_DEFAULT,
		.send_rel = true,
	};

	BT_MESH_MODEL_BUF_DEFINE(buf,
		BT_MESH_CHAT_CLI_OP_PRESENCE_GET,
		BT_MESH_CHAT_CLI_MSG_LEN_PRESENCE_GET);
	bt_mesh_model_msg_init(&buf, BT_MESH_CHAT_CLI_OP_PRESENCE_GET);

	return bt_mesh_model_send(chat->model, &ctx, &buf, NULL, NULL);
}

int bt_mesh_chat_cli_message_send(struct bt_mesh_chat_cli *chat,
	const uint8_t *msg)
{
	struct net_buf_simple *buf = chat->model->pub->msg;

	bt_mesh_model_msg_init(buf, BT_MESH_CHAT_CLI_OP_MESSAGE);

	net_buf_simple_add_mem(buf,
		msg,
		strnlen(msg,
			CONFIG_BT_MESH_CHAT_CLI_MESSAGE_LENGTH));
	net_buf_simple_add_u8(buf, '\0');

	return bt_mesh_model_publish(chat->model);
}

/* .. include_startingpoint_chat_cli_rst_9 */
int bt_mesh_chat_cli_private_message_send(struct bt_mesh_chat_cli *chat,
	uint16_t addr,
	const uint8_t *msg)
{
	struct bt_mesh_msg_ctx ctx = {
		.addr = addr,
		.app_idx = chat->model->keys[0],
		.send_ttl = BT_MESH_TTL_DEFAULT,
		.send_rel = true,
	};

	BT_MESH_MODEL_BUF_DEFINE(buf,
		BT_MESH_CHAT_CLI_OP_PRIVATE_MESSAGE,
		BT_MESH_CHAT_CLI_MSG_MAXLEN_MESSAGE);
	bt_mesh_model_msg_init(&buf, BT_MESH_CHAT_CLI_OP_PRIVATE_MESSAGE);

	net_buf_simple_add_mem(&buf,
		msg,
		strnlen(msg,
			CONFIG_BT_MESH_CHAT_CLI_MESSAGE_LENGTH));
	net_buf_simple_add_u8(&buf, '\0');

	return bt_mesh_model_send(chat->model, &ctx, &buf, NULL, NULL);
}
/* .. include_endpoint_chat_cli_rst_9 */

/******************************************************************************/
/***************************** Chat model setup *******************************/
/******************************************************************************/
struct presence_cache {
	uint16_t addr;
	enum bt_mesh_chat_cli_presence presence;
};

/* Cache of Presence values of other chat clients. */
static struct presence_cache presence_cache[
			    CONFIG_BT_MESH_CHAT_SAMPLE_PRESENCE_CACHE_SIZE];

static const uint8_t *presence_string[] = {
	[BT_MESH_CHAT_CLI_PRESENCE_AVAILABLE] = "available",
	[BT_MESH_CHAT_CLI_PRESENCE_AWAY] = "away",
	[BT_MESH_CHAT_CLI_PRESENCE_DO_NOT_DISTURB] = "dnd",
	[BT_MESH_CHAT_CLI_PRESENCE_INACTIVE] = "inactive",
};

/**
 * Returns true if the specified address is an address of the local element.
 */
static bool address_is_local(struct bt_mesh_model *mod, uint16_t addr)
{
	return bt_mesh_model_elem(mod)->addr == addr;
}

/**
 * Returns true if the provided address is unicast address.
 */
static bool address_is_unicast(uint16_t addr)
{
	return (addr > 0) && (addr <= 0x7FFF);
}

/**
 * Returns true if the node is new or the presence status is different from
 * the one stored in the cache.
 */
static bool presence_cache_entry_check_and_update(uint16_t addr,
	enum bt_mesh_chat_cli_presence presence)
{
	static size_t presence_cache_head;
	size_t i;

	/* Find address in cache. */
	for (i = 0; i < ARRAY_SIZE(presence_cache); i++) {
		if (presence_cache[i].addr == addr) {
			if (presence_cache[i].presence == presence) {
				return false;
			}

			/* Break since the node in the cache. */
			break;
		}
	}

	/* Not in cache. */
	if (i == ARRAY_SIZE(presence_cache)) {
		for (i = 0; i < ARRAY_SIZE(presence_cache); i++) {
			if (!presence_cache[i].addr) {
				break;
			}
		}

		/* Cache is full. */
		if (i == ARRAY_SIZE(presence_cache)) {
			i = presence_cache_head;
			presence_cache_head = (presence_cache_head + 1)
			% CONFIG_BT_MESH_CHAT_SAMPLE_PRESENCE_CACHE_SIZE;
		}
	}

	/* Update cache. */
	presence_cache[i].addr = addr;
	presence_cache[i].presence = presence;

	return true;
}

static void print_client_status(void);

static void handle_chat_start(struct bt_mesh_chat_cli *chat)
{
	print_client_status();
}

static void handle_chat_presence(struct bt_mesh_chat_cli *chat,
	struct bt_mesh_msg_ctx *ctx,
	enum bt_mesh_chat_cli_presence presence)
{
	if (address_is_local(chat->model, ctx->addr)) {
		if (address_is_unicast(ctx->recv_dst)) {
			printk(
				"<you> are %s\n",
				presence_string[presence]);
		}
	}
	else {
		if (address_is_unicast(ctx->recv_dst)) {
			printk(
				"<0x%04X> is %s\n",
				ctx->addr,
				presence_string[presence]);
		}
		else if (presence_cache_entry_check_and_update(ctx->addr,
			presence)) {
			printk(
				"<0x%04X> is now %s\n",
				ctx->addr,
				presence_string[presence]);
		}
	}
}
// receive broadcast from middle station and get RSSI
static void handle_chat_message(struct bt_mesh_chat_cli *chat,
	struct bt_mesh_msg_ctx *ctx,
	const uint8_t *msg)
{
	/* Don't print own messages. */
	if (address_is_local(chat->model, ctx->addr)) {
		return;
	}
	
	RSSI *rssi_info = k_malloc(sizeof(RSSI));
	rssi_info->address = ctx->addr;
	rssi_info->rssi = ctx->recv_rssi;
	k_work_init(&rssi_info->work, process_rssi);
	
	k_work_submit_to_queue(&rssi_work_q, &rssi_info->work);
}

static void handle_chat_private_message(struct bt_mesh_chat_cli *chat,
	struct bt_mesh_msg_ctx *ctx,
	const uint8_t *msg)
{
	/* Don't print own messages. */
	if (address_is_local(chat->model, ctx->addr)) {
		return;
	}

	printk( "<0x%04X>: *you* %s\n", ctx->addr, msg);
	
	//to do command parsing
}

static void handle_chat_message_reply(struct bt_mesh_chat_cli *chat,
	struct bt_mesh_msg_ctx *ctx)
{
	printk( "<0x%04X> received the message\n", ctx->addr);
}

static const struct bt_mesh_chat_cli_handlers chat_handlers = {
	.start = handle_chat_start,
	.presence = handle_chat_presence,
	.message = handle_chat_message,
	.private_message = handle_chat_private_message,
	.message_reply = handle_chat_message_reply,
};

struct bt_mesh_chat_cli chat = {
	.handlers = &chat_handlers,
};

static void print_client_status(void)
{
	if (!bt_mesh_is_provisioned()) {
		printk(
			"The mesh node is not provisioned. Please provision the mesh node before using the chat.\n");
	}
	else {
		printk(
			"The mesh node is provisioned. The client address is 0x%04x.\n",
			bt_mesh_model_elem(chat.model)->addr);
	}

	printk(
		"Current presence: %s\n",
		presence_string[chat.presence]);
}
```

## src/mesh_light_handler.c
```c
/*
 * Copyright (c) 2019 Nordic Semiconductor ASA
 *
 * SPDX-License-Identifier: LicenseRef-Nordic-5-Clause
 */

#include <bluetooth/bluetooth.h>
#include <bluetooth/mesh/models.h>
#include <dk_buttons_and_leds.h>
#include "model_handler.h"
#include "mesh_light_handler.h"

struct led_ctx led_ctx[3] = {
		[0 ... 2] = {
		.srv = BT_MESH_ONOFF_SRV_INIT(&onoff_handlers),
	}
};

static void led_set(struct bt_mesh_onoff_srv *srv, struct bt_mesh_msg_ctx *ctx,
		    const struct bt_mesh_onoff_set *set,
		    struct bt_mesh_onoff_status *rsp);

static void led_get(struct bt_mesh_onoff_srv *srv, struct bt_mesh_msg_ctx *ctx,
		    struct bt_mesh_onoff_status *rsp);

const struct bt_mesh_onoff_srv_handlers onoff_handlers = {
	.set = led_set,
	.get = led_get,
};
void led_transition_start(struct led_ctx *led)
{
	int led_idx = led - &led_ctx[0];

	/* As long as the transition is in progress, the onoff
	 * state is "on":
	 */
	dk_set_led(led_idx, true);
	k_work_reschedule(&led->work, K_MSEC(led->remaining));
	led->remaining = 0;
}

void led_status(struct led_ctx *led, struct bt_mesh_onoff_status *status)
{
	status->remaining_time =
		k_ticks_to_ms_ceil32(
			k_work_delayable_remaining_get(&led->work)) +
		led->remaining;
	status->target_on_off = led->value;
	/* As long as the transition is in progress, the onoff state is "on": */
	status->present_on_off = led->value || status->remaining_time;
}

static void led_set(struct bt_mesh_onoff_srv *srv,
	struct bt_mesh_msg_ctx *ctx,
	const struct bt_mesh_onoff_set *set,
	struct bt_mesh_onoff_status *rsp)
{
	struct led_ctx *led = CONTAINER_OF(srv, struct led_ctx, srv);
	int led_idx = led - &led_ctx[0];

	if (set->on_off == led->value) {
		goto respond;
	}

	led->value = set->on_off;
	if (!bt_mesh_model_transition_time(set->transition)) {
		led->remaining = 0;
		dk_set_led(led_idx, set->on_off);
		goto respond;
	}

	led->remaining = set->transition->time;

	if (set->transition->delay) {
		k_work_reschedule(&led->work, K_MSEC(set->transition->delay));
	}
	else {
		led_transition_start(led);
	}

respond:
	if (rsp) {
		led_status(led, rsp);
	}
}

static void led_get(struct bt_mesh_onoff_srv *srv, struct bt_mesh_msg_ctx *ctx,
		    struct bt_mesh_onoff_status *rsp)
{
	struct led_ctx *led = CONTAINER_OF(srv, struct led_ctx, srv);

	led_status(led, rsp);
}
```

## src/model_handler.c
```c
#include <bluetooth/bluetooth.h>
#include <bluetooth/mesh/models.h>
#include <dk_buttons_and_leds.h>
#include "model_handler.h"
#include "mesh_light_handler.h"
#include "mesh_cmd_handler.h"
#include "rssi_thread.h"
#include "cmd_thread.h"
#include "power/reboot.h"

extern struct led_ctx led_ctx[3];
extern struct bt_mesh_chat_cli chat;

extern rssi_buffer nearest_three[3];

static void led_work(struct k_work *work)
{
	struct led_ctx *led = CONTAINER_OF(work, struct led_ctx, work.work);
	int led_idx = led - &led_ctx[0];

	if (led->remaining) {
		led_transition_start(led);
	}
	else {
		dk_set_led(led_idx, led->value);

		/* Publish the new value at the end of the transition */
		struct bt_mesh_onoff_status status;

		led_status(led, &status);
		bt_mesh_onoff_srv_pub(&led->srv, NULL, &status);
	}
}
static struct k_work_delayable attention_blink_work;
static bool attention;
static void attention_blink(struct k_work *work)
{
	static int idx;
	const uint8_t pattern[] = {
		BIT(0) | BIT(1),
		BIT(1) | BIT(2),
		BIT(2) | BIT(3),
		BIT(3) | BIT(0),
	};

	if (attention) {
		dk_set_leds(pattern[idx++ % ARRAY_SIZE(pattern)]);
		k_work_reschedule(&attention_blink_work, K_MSEC(30));
	}
	else {
		dk_set_leds(DK_NO_LEDS_MSK);
	}
}

static void attention_on(struct bt_mesh_model *mod)
{
	attention = true;
	k_work_reschedule(&attention_blink_work, K_NO_WAIT);
}

static void attention_off(struct bt_mesh_model *mod)
{
	/* Will stop rescheduling blink timer */
	attention = false;
}

static const struct bt_mesh_health_srv_cb health_srv_cb = {
	.attn_on = attention_on,
	.attn_off = attention_off,
};

static struct bt_mesh_health_srv health_srv = {
	.cb = &health_srv_cb,
};

BT_MESH_HEALTH_PUB_DEFINE(health_pub, 0);

static struct bt_mesh_elem elements[] = {
	BT_MESH_ELEM(
		1,
	BT_MESH_MODEL_LIST(
			BT_MESH_MODEL_CFG_SRV,
		BT_MESH_MODEL_HEALTH_SRV(&health_srv, &health_pub)),
		BT_MESH_MODEL_LIST(BT_MESH_MODEL_CHAT_CLI(&chat))),
	BT_MESH_ELEM(
		2,
	BT_MESH_MODEL_LIST(BT_MESH_MODEL_ONOFF_SRV(&led_ctx[0].srv)),
	BT_MESH_MODEL_NONE),
};

static const struct bt_mesh_comp comp = {
	.cid = CONFIG_BT_COMPANY_ID,
	.elem = elements,
	.elem_count = ARRAY_SIZE(elements),
};


void uploadSelfLocation(struct k_timer *dummy)
{
	if (chat.model->keys[0] == 0xffff)
		return;
	rssi_buffer rbuf[3];
	int i = getRecords(&rbuf);
	if (rbuf[i].rssi <= -120 || i == -1)
		return;
	
	uint8_t msg[9] = {0};
	int x = 0;
	for (int n = 0; n < 9; n+=3)
	{
		memcpy(&msg[n], &rbuf[x].address, 2);
		memcpy(&msg[n + 2], &rbuf[x].rssi, 1);
		x++;
	}
	struct bt_mesh_msg_ctx ctx = {
		.addr = rbuf[i].address,
		.app_idx = chat.model->keys[0],
		.send_ttl = 0,
		.send_rel = false,
	};

	BT_MESH_MODEL_BUF_DEFINE(buf,
		BT_MESH_CHAT_CLI_OP_PRIVATE_MESSAGE,
		BT_MESH_CHAT_CLI_MSG_MAXLEN_MESSAGE);
	bt_mesh_model_msg_init(&buf, BT_MESH_CHAT_CLI_OP_PRIVATE_MESSAGE);

	net_buf_simple_add_mem(&buf, msg, 9);
	net_buf_simple_add_u8(&buf, '\0');
	
	int err = bt_mesh_model_send(chat.model, &ctx, &buf, NULL, NULL);
	if (err) {
		printk("failed to send message: %d\n", err);
		sys_reboot(SYS_REBOOT_COLD);
	}
	init_buffer();
}

K_TIMER_DEFINE(rssi_timer, uploadSelfLocation, NULL);

const struct bt_mesh_comp *model_handler_init(void)
{
	k_work_init_delayable(&attention_blink_work, attention_blink);

	for (int i = 0; i < ARRAY_SIZE(led_ctx); ++i) {
		k_work_init_delayable(&led_ctx[i].work, led_work);
	}
	
	init_cmd_thread();
	init_rssi_thread();
	
	k_timer_start(&rssi_timer, K_SECONDS(10), K_SECONDS(5));
	
	return &comp;
}
```
